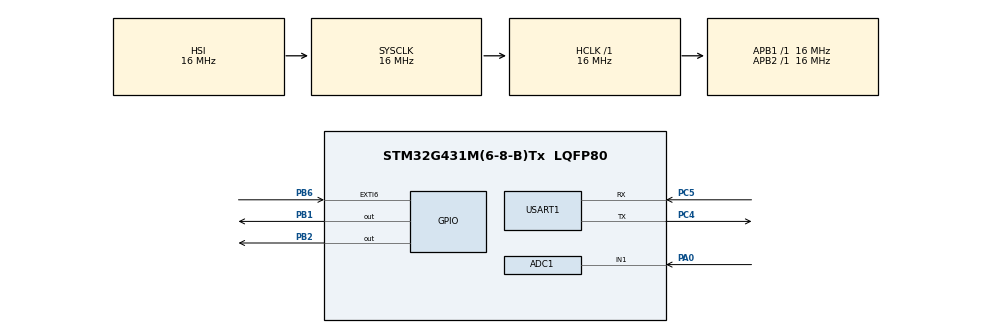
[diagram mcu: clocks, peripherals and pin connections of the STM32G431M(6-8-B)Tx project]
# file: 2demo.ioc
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ADC1.Channel-0\#ChannelRegularConversion=ADC_CHANNEL_1
ADC1.NbrOfConversionFlag=1
ADC1.OffsetNumber-0\#ChannelRegularConversion=ADC_OFFSET_NONE
ADC1.Rank-0\#ChannelRegularConversion=1
ADC1.SamplingTime-0\#ChannelRegularConversion=ADC_SAMPLETIME_2CYCLES_5
ADC1.master=1
FREERTOS.BinarySemaphores01=myBinarySem01,Dynamic,NULL,Depleted;myBinarySem02,Dynamic,NULL,Depleted
FREERTOS.Tasks01=defaultTask,0,128,StartDefaultTask,Default,NULL,Dynamic,NULL,NULL
FREERTOS.configUSE_TIMERS=1
Mcu.Family=STM32G4
Mcu.Name=STM32G431M(6-8-B)Tx
Mcu.Package=LQFP80
NVIC.EXTI9_5_IRQn=true\:5\:0\:false\:false\:true\:true\:true\:true\:true
NVIC.PriorityGroup=NVIC_PRIORITYGROUP_4
NVIC.USART1_IRQn=true\:5\:0\:false\:false\:true\:true\:true\:true\:true
PA0.Mode=IN1-Single-Ended
PA0.Signal=ADC1_IN1
PB1.PinState=GPIO_PIN_SET
PB1.Signal=GPIO_Output
PB2.PinState=GPIO_PIN_SET
PB2.Signal=GPIO_Output
PB6.GPIO_ModeDefaultEXTI=GPIO_MODE_IT_RISING
PB6.GPIO_PuPd=GPIO_PULLUP
PB6.Signal=GPXTI6
PC4.Mode=Asynchronous
PC4.Signal=USART1_TX
PC5.Mode=Asynchronous
PC5.Signal=USART1_RX
ProjectManager.HeapSize=0x200
ProjectManager.StackSize=0x400
ProjectManager.TargetToolchain=STM32CubeIDE
RCC.AHBFreq_Value=16000000
RCC.APB1Freq_Value=16000000
RCC.APB1TimFreq_Value=16000000
RCC.APB2Freq_Value=16000000
RCC.APB2TimFreq_Value=16000000
RCC.CortexFreq_Value=16000000
RCC.EXTERNAL_CLOCK_VALUE=12288000
RCC.HCLKFreq_Value=16000000
RCC.HSE_VALUE=8000000
RCC.HSI48_VALUE=48000000
RCC.HSI_VALUE=16000000
RCC.LSE_VALUE=32768
RCC.SYSCLKFreq_VALUE=16000000
RCC.USBFreq_Value=64000000
RCC.VCOOutputFreq_Value=128000000
USART1.VirtualMode-Asynchronous=VM_ASYNC
VP_FREERTOS_VS_CMSIS_V1.Mode=CMSIS_V1
VP_SYS_VS_DBSignals.Mode=DisableDeadBatterySignals
board=custom

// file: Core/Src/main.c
/* USER CODE BEGIN Header */
/**
  ******************************************************************************
  * @file           : main.c
  * @brief          : Main program body
  ******************************************************************************
  * @attention
  *
  * Copyright (c) 2025 STMicroelectronics.
  * All rights reserved.
  *
  * This software is licensed under terms that can be found in the LICENSE file
  * in the root directory of this software component.
  * If no LICENSE file comes with this software, it is provided AS-IS.
  *
  ******************************************************************************
  */
/* USER CODE END Header */
#include "main.h"
#include "cmsis_os.h"

/* USER CODE BEGIN Includes */
#include <stdio.h>
/* USER CODE END Includes */

ADC_HandleTypeDef hadc1;

UART_HandleTypeDef huart1;

osThreadId defaultTaskHandle;
osSemaphoreId myBinarySem01Handle;
osSemaphoreId myBinarySem02Handle;
/* USER CODE BEGIN PV */
osThreadId Task2Handler;
/* USER CODE END PV */

void SystemClock_Config(void);
static void MX_GPIO_Init(void);
static void MX_USART1_UART_Init(void);
static void MX_ADC1_Init(void);
void StartDefaultTask(void const * argument);

/* USER CODE BEGIN PFP */
void task2_init (void const * argument);
int indx = 0;
/* USER CODE END PFP */

/* USER CODE BEGIN 0 */
#ifdef __GNUC__
int __io_putchar(int ch)
{
    HAL_UART_Transmit(&huart1, (uint8_t*)&ch, 1, HAL_MAX_DELAY);
    return ch;
}
#endif

void HAL_GPIO_EXTI_Callback(uint16_t GPIO_Pin)
{
    if (GPIO_Pin == GPIO_PIN_6) // e.g., GPIO_PIN_0
    {
        osSemaphoreRelease(myBinarySem01Handle);
        osSemaphoreRelease(myBinarySem02Handle);
    }
}
/* USER CODE END 0 */

int main(void)
{

  /* MCU Configuration--------------------------------------------------------*/

  /* Reset of all peripherals, Initializes the Flash interface and the Systick. */
  HAL_Init();

  /* Configure the system clock */
  SystemClock_Config();

  /* Initialize all configured peripherals */
  MX_GPIO_Init();
  MX_USART1_UART_Init();
  MX_ADC1_Init();

  /* Create the semaphores(s) */
  /* definition and creation of myBinarySem01 */
  osSemaphoreDef(myBinarySem01);
  myBinarySem01Handle = osSemaphoreCreate(osSemaphore(myBinarySem01), 1);

  /* definition and creation of myBinarySem02 */
  osSemaphoreDef(myBinarySem02);
  myBinarySem02Handle = osSemaphoreCreate(osSemaphore(myBinarySem02), 1);

  /* Create the thread(s) */
  /* definition and creation of defaultTask */
  osThreadDef(defaultTask, StartDefaultTask, osPriorityNormal, 0, 128);
  defaultTaskHandle = osThreadCreate(osThread(defaultTask), NULL);

  /* USER CODE BEGIN RTOS_THREADS */
  /* add threads, ... */
  osThreadDef (Task2, task2_init, osPriorityNormal, 0, 128);
  Task2Handler = osThreadCreate(osThread(Task2), NULL);

  /* USER CODE END RTOS_THREADS */

  /* Start scheduler */
  osKernelStart();

  /* We should never get here as control is now taken by the scheduler */

  /* Infinite loop */
  while (1)
  {

  }
}

void SystemClock_Config(void)
{
  RCC_OscInitTypeDef RCC_OscInitStruct = {0};
  RCC_ClkInitTypeDef RCC_ClkInitStruct = {0};

  /** Configure the main internal regulator output voltage
  */
  HAL_PWREx_ControlVoltageScaling(PWR_REGULATOR_VOLTAGE_SCALE1);

  /** Initializes the RCC Oscillators according to the specified parameters
  * in the RCC_OscInitTypeDef structure.
  */
  RCC_OscInitStruct.OscillatorType = RCC_OSCILLATORTYPE_HSI;
  RCC_OscInitStruct.HSIState = RCC_HSI_ON;
  RCC_OscInitStruct.HSICalibrationValue = RCC_HSICALIBRATION_DEFAULT;
  RCC_OscInitStruct.PLL.PLLState = RCC_PLL_NONE;
  if (HAL_RCC_OscConfig(&RCC_OscInitStruct) != HAL_OK)
  {
    Error_Handler();
  }

  /** Initializes the CPU, AHB and APB buses clocks
  */
  RCC_ClkInitStruct.ClockType = RCC_CLOCKTYPE_HCLK|RCC_CLOCKTYPE_SYSCLK
                              |RCC_CLOCKTYPE_PCLK1|RCC_CLOCKTYPE_PCLK2;
  RCC_ClkInitStruct.SYSCLKSource = RCC_SYSCLKSOURCE_HSI;
  RCC_ClkInitStruct.AHBCLKDivider = RCC_SYSCLK_DIV1;
  RCC_ClkInitStruct.APB1CLKDivider = RCC_HCLK_DIV1;
  RCC_ClkInitStruct.APB2CLKDivider = RCC_HCLK_DIV1;

  if (HAL_RCC_ClockConfig(&RCC_ClkInitStruct, FLASH_LATENCY_0) != HAL_OK)
  {
    Error_Handler();
  }
}

static void MX_ADC1_Init(void)
{

  ADC_MultiModeTypeDef multimode = {0};
  ADC_ChannelConfTypeDef sConfig = {0};

  /** Common config
  */
  hadc1.Instance = ADC1;
  hadc1.Init.ClockPrescaler = ADC_CLOCK_SYNC_PCLK_DIV2;
  hadc1.Init.Resolution = ADC_RESOLUTION_12B;
  hadc1.Init.DataAlign = ADC_DATAALIGN_RIGHT;
  hadc1.Init.GainCompensation = 0;
  hadc1.Init.ScanConvMode = ADC_SCAN_DISABLE;
  hadc1.Init.EOCSelection = ADC_EOC_SINGLE_CONV;
  hadc1.Init.LowPowerAutoWait = DISABLE;
  hadc1.Init.ContinuousConvMode = DISABLE;
  hadc1.Init.NbrOfConversion = 1;
  hadc1.Init.DiscontinuousConvMode = DISABLE;
  hadc1.Init.ExternalTrigConv = ADC_SOFTWARE_START;
  hadc1.Init.ExternalTrigConvEdge = ADC_EXTERNALTRIGCONVEDGE_NONE;
  hadc1.Init.DMAContinuousRequests = DISABLE;
  hadc1.Init.Overrun = ADC_OVR_DATA_PRESERVED;
  hadc1.Init.OversamplingMode = DISABLE;
  if (HAL_ADC_Init(&hadc1) != HAL_OK)
  {
    Error_Handler();
  }

  /** Configure the ADC multi-mode
  */
  multimode.Mode = ADC_MODE_INDEPENDENT;
  if (HAL_ADCEx_MultiModeConfigChannel(&hadc1, &multimode) != HAL_OK)
  {
    Error_Handler();
  }

  /** Configure Regular Channel
  */
  sConfig.Channel = ADC_CHANNEL_1;
  sConfig.Rank = ADC_REGULAR_RANK_1;
  sConfig.SamplingTime = ADC_SAMPLETIME_2CYCLES_5;
  sConfig.SingleDiff = ADC_SINGLE_ENDED;
  sConfig.OffsetNumber = ADC_OFFSET_NONE;
  sConfig.Offset = 0;
  if (HAL_ADC_ConfigChannel(&hadc1, &sConfig) != HAL_OK)
  {
    Error_Handler();
  }

}

static void MX_USART1_UART_Init(void)
{

  huart1.Instance = USART1;
  huart1.Init.BaudRate = 115200;
  huart1.Init.WordLength = UART_WORDLENGTH_8B;
  huart1.Init.StopBits = UART_STOPBITS_1;
  huart1.Init.Parity = UART_PARITY_NONE;
  huart1.Init.Mode = UART_MODE_TX_RX;
  huart1.Init.HwFlowCtl = UART_HWCONTROL_NONE;
  huart1.Init.OverSampling = UART_OVERSAMPLING_16;
  huart1.Init.OneBitSampling = UART_ONE_BIT_SAMPLE_DISABLE;
  huart1.Init.ClockPrescaler = UART_PRESCALER_DIV1;
  huart1.AdvancedInit.AdvFeatureInit = UART_ADVFEATURE_NO_INIT;
  if (HAL_UART_Init(&huart1) != HAL_OK)
  {
    Error_Handler();
  }
  if (HAL_UARTEx_SetTxFifoThreshold(&huart1, UART_TXFIFO_THRESHOLD_1_8) != HAL_OK)
  {
    Error_Handler();
  }
  if (HAL_UARTEx_SetRxFifoThreshold(&huart1, UART_RXFIFO_THRESHOLD_1_8) != HAL_OK)
  {
    Error_Handler();
  }
  if (HAL_UARTEx_DisableFifoMode(&huart1) != HAL_OK)
  {
    Error_Handler();
  }

}

static void MX_GPIO_Init(void)
{
  GPIO_InitTypeDef GPIO_InitStruct = {0};

  /* GPIO Ports Clock Enable */
  __HAL_RCC_GPIOA_CLK_ENABLE();
  __HAL_RCC_GPIOC_CLK_ENABLE();
  __HAL_RCC_GPIOB_CLK_ENABLE();

  /*Configure GPIO pin Output Level */
  HAL_GPIO_WritePin(GPIOB, GPIO_PIN_1|GPIO_PIN_2, GPIO_PIN_SET);

  /*Configure GPIO pins : PB1 PB2 */
  GPIO_InitStruct.Pin = GPIO_PIN_1|GPIO_PIN_2;
  GPIO_InitStruct.Mode = GPIO_MODE_OUTPUT_PP;
  GPIO_InitStruct.Pull = GPIO_NOPULL;
  GPIO_InitStruct.Speed = GPIO_SPEED_FREQ_LOW;
  HAL_GPIO_Init(GPIOB, &GPIO_InitStruct);

  /*Configure GPIO pin : PB6 */
  GPIO_InitStruct.Pin = GPIO_PIN_6;
  GPIO_InitStruct.Mode = GPIO_MODE_IT_RISING;
  GPIO_InitStruct.Pull = GPIO_PULLUP;
  HAL_GPIO_Init(GPIOB, &GPIO_InitStruct);

  /* EXTI interrupt init*/
  HAL_NVIC_SetPriority(EXTI9_5_IRQn, 5, 0);
  HAL_NVIC_EnableIRQ(EXTI9_5_IRQn);

}

/* USER CODE BEGIN 4 */
void task2_init (void const * argument)
{
	while (1)
	{
		        if (osSemaphoreWait(myBinarySem01Handle, 0) == osOK)
		        {
		        	 printf("Hello World\r\n");
		            // Successfully took the semaphore — toggle LED

		        }

	}
}
/* USER CODE END 4 */

//void StartDefaultTask(void const * argument)
//{
//  /* USER CODE BEGIN 5 */
//  /* Infinite loop */
//  for(;;)
//
//  {
//	  	 HAL_ADC_Start(&hadc1);
//	  	 HAL_ADC_PollForConversion(&hadc1, HAL_MAX_DELAY);
//	  	 uint16_t adcVal = HAL_ADC_GetValue(&hadc1);
//	  	 HAL_ADC_Stop(&hadc1);
//	  	 // printf ("Default Task\r\n");
//
//  //  osDelay(1000);
//  }
//  /* USER CODE END 5 */
//}

void Error_Handler(void)
{
  __disable_irq();
  while (1)
  {
  }
}
